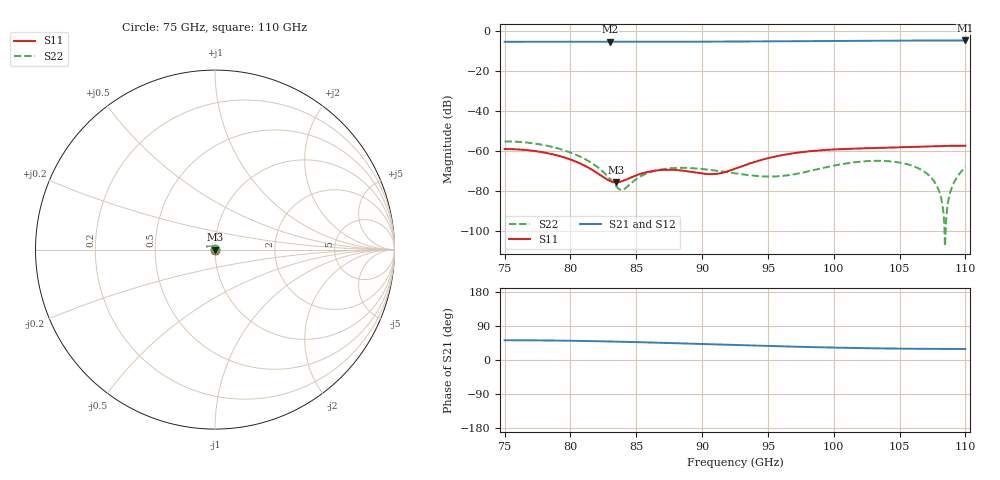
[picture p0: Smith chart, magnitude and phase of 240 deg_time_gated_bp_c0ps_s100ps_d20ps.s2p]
# Hz S RI R 50.000000
! Metas.Vna.Tools, 2.4.7724.19584
! Metas.Vna.Data, 2.4.7724.19560
! Created: UTC 2021.04.29 12:40:11
! FREQ  re:S1,1  im:S1,1  re:S2,1  im:S2,1  re:S1,2  im:S1,2  re:S2,2  im:S2,2
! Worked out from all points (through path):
!   1401 points, 75 GHz to 110 GHz, reference 50 ohm
!   highest |S21| = -4.63 dB at 110 GHz (marker M1); lowest = -5.3 dB at 83 GHz (marker M2)
!   lowest |S11| = -75.7 dB at 83.45 GHz (marker M3), VSWR 1.00, Z = 50 + j0.00297 ohm
!   |S11| at or under -10 dB: start of sweep to end of sweep
!   |S22| runs from -107.6 to -55.2 dB; largest |S21 - S12| = 0.02
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7.5e10  -0.00013 -0.00111  0.3334 0.4287  0.3194 0.4427  0.000228 0.00172
7.8125e10  -0.00016 -0.000887  0.337 0.4254  0.3233 0.4395  5.6e-05 0.00138
8.085e10  -0.000192 -0.000427  0.346 0.4175  0.3327 0.4316  -6.42e-05 0.000691
8.205e10  -0.000189 -0.000205  0.3515 0.4127  0.3385 0.4268  -9.25e-05 0.000387
8.3e10  -0.000173 -4.13e-05  0.3564 0.4084  0.3438 0.4224  -0.000104 0.000171
8.345e10  -0.000161 2.97e-05  0.3589 0.4062  0.3465 0.4202  -0.000106 7.99e-05
8.4025e10  -0.000142 0.000112  0.3623 0.4033  0.3501 0.4172  -0.000106 -2.49e-05
8.535e10  -8.04e-05 0.000258  0.3706 0.396  0.3591 0.4098  -9.82e-05 -0.000213
8.6675e10  3.46e-07 0.00033  0.3798 0.3883  0.3689 0.4017  -8.49e-05 -0.000325
8.8475e10  0.000124 0.000299  0.3931 0.3771  0.3835 0.3898  -6.81e-05 -0.000373
9.075e10  0.000254 6.96e-05  0.4109 0.3623  0.4032 0.3737  -5.8e-05 -0.000328
9.25e10  0.000296 -0.000203  0.425 0.351  0.4189 0.3609  -5.15e-05 -0.00027
9.5525e10  0.000188 -0.0007  0.4488 0.3322  0.446 0.3391  2.01e-06 -0.000231
9.835e10  -0.000114 -0.000992  0.4694 0.3165  0.4697 0.3201  0.000137 -0.000296
1.01575e11  -0.000579 -0.000992  0.4891 0.302  0.4928 0.3018  0.000328 -0.000407
1.04175e11  -0.000929 -0.000789  0.5011 0.2933  0.5071 0.2905  0.000376 -0.000409
1.06625e11  -0.00117 -0.000563  0.5087 0.2879  0.5162 0.2833  0.000234 -0.00025
1.07325e11  -0.00121 -0.00051  0.5101 0.2869  0.5179 0.2819  0.000157 -0.000167
1.08175e11  -0.00126 -0.000459  0.5114 0.286  0.5195 0.2807  4.41e-05 -4.38e-05
1.08825e11  -0.00128 -0.000432  0.5121 0.2855  0.5203 0.28  -5.36e-05 6.78e-05
1.0945e11  -0.00129 -0.000416  0.5125 0.2853  0.5208 0.2797  -0.000154 0.000189
1.1e11  -0.0013 -0.000412  0.5126 0.2852  0.5209 0.2796  -0.000246 0.000305
